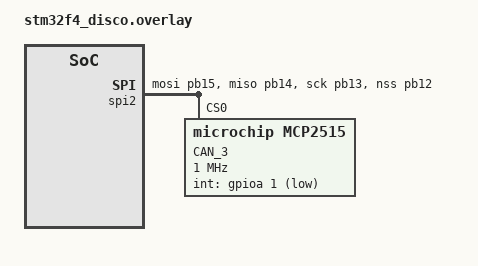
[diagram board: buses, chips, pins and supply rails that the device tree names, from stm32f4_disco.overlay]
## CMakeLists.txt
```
# Find Zephyr. This also loads Zephyr's build system.
cmake_minimum_required(VERSION 3.13.1)
find_package(Zephyr)
project(epos_controller)

# Add your source file to the "app" target. This must come after
# find_package(Zephyr) which defines the target.
#target_sources(app PRIVATE src/test.cpp)
target_sources(app PRIVATE src/main.cpp)
target_sources(app PRIVATE src/epos4/epos4.cpp)
```

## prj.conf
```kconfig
CONFIG_CAN=y
CONFIG_CAN_MCP2515=y
CONFIG_CAN_STM32=n
CONFIG_CAN_INIT_PRIORITY=80
CONFIG_CAN_MAX_FILTER=1

CONFIG_SPI=y
CONFIG_SPI_STM32_INTERRUPT=y


CONFIG_LOG=y
CONFIG_CAN_LOG_LEVEL_DBG=y
# CONFIG_SPI_LOG_LEVEL_DBG=y
CONFIG_DEBUG_OPTIMIZATIONS=y
```

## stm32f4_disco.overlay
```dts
&spi2 {
	status = "okay";
	// cs-gpios = <&arduino_header 16 GPIO_ACTIVE_LOW>; /* D10 */
	pinctrl-0 = <&spi2_mosi_pb15 &spi2_miso_pb14 &spi2_sck_pb13 &spi2_nss_pb12>;
	can3: mcp2515@0 {
		compatible = "microchip,mcp2515";
		spi-max-frequency = <1000000>;
		int-gpios = <&gpioa 1 GPIO_ACTIVE_LOW>; /* D2 */
		status = "okay";
		label = "CAN_3";
		reg = <0x0>;
		osc-freq = <16000000>;
		bus-speed = <125000>;
		sjw = <1>;
		prop-seg = <2>;
		phase-seg1 = <7>;
		phase-seg2 = <6>;
		#address-cells = <1>;
		#size-cells = <0>;
	};
};

&can2 {
	status = "disabled";
};

/ {
	aliases {
		can-dev = &can3;
	};
};
```

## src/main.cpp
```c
#include <zephyr.h>
#include <kernel.h>
#include <sys/printk.h>
#include <device.h>
#include <drivers/can.h>
#include <drivers/gpio.h>
#include <sys/byteorder.h>

#include "epos4/epos4.h"

#define RX_THREAD_STACK_SIZE 512
#define RX_THREAD_PRIORITY 2
#define STATE_POLL_THREAD_STACK_SIZE 512
#define STATE_POLL_THREAD_PRIORITY 2
#define LED_MSG_ID 0x10
#define COUNTER_MSG_ID 0x12345
#define SET_LED 1
#define RESET_LED 0
#define SLEEP_TIME K_MSEC(250)

K_THREAD_STACK_DEFINE(rx_thread_stack, RX_THREAD_STACK_SIZE);

#define CAN_DEVICE_LABEL DT_PROP(DT_ALIAS(can_dev), label)

const struct device* can_dev;
// const struct device *can_dev = DEVICE_DT_GET(DT_CHOSEN(zephyr_can_primary));

epos4 epos4_1(0x581,0x601, can_dev);


struct k_thread rx_thread_data;
struct k_thread poll_state_thread_data;
struct zcan_work rx_work;
struct k_work state_change_work;
enum can_state current_state;
struct can_bus_err_cnt current_err_cnt;

void rx_callback_function(struct zcan_frame *frame, void *arg)
{
	char *dat = (char*)(frame->data);

	if( dat[1] == 0x41 || dat[2] == 0x60 )
	{
		uint16_t statusword = ( dat[5] << 8 ) | ( dat[4] );
    	epos4_1._target_reached = statusword & 0b0000010000000000;
    	epos4_1._state_of_drive = statusword & 0b01101111;
	}

	printk("MSG: ");
	
	for(int i = 0; i < 8; i+=1)
	{
		printk("%x",(unsigned char)(dat[i]));
	}
	
	printk("\n");
}



void main(void)
{
	epos4_1._can_interface = device_get_binding("CAN_3");

	k_tid_t rx_tid;

    if (!device_is_ready(epos4_1._can_interface)) {
		printk("CAN: Device %s not ready.\n", epos4_1._can_interface->name);
		return;
	}else{
        printk("CAN device %s is ready...\n", epos4_1._can_interface->name);
    }
	can_set_mode(epos4_1._can_interface, CAN_NORMAL_MODE);

	const struct zcan_filter my_filter = {
        .id = 0x581,
        .rtr = CAN_DATAFRAME,
        .id_type = CAN_STANDARD_IDENTIFIER,
        .id_mask = CAN_STD_ID_MASK,
        .rtr_mask = 1
	};
	int filter_id;

	filter_id = can_attach_isr(epos4_1._can_interface, rx_callback_function, NULL, &my_filter);
	if (filter_id < 0) {
	  	printk("Unable to attach isr [%d]", filter_id);
	}

	printk("start init...");
    epos4_1.init();
	printk(" done!");
	while(1)
	{
		k_sleep(K_MSEC(1000));
		printk("Test ... \n");
	}
}
```

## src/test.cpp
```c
#include <zephyr.h>
#include <kernel.h>
#include <sys/printk.h>
#include <device.h>
#include <drivers/can.h>
#include <drivers/gpio.h>
#include <sys/byteorder.h>

#define RX_THREAD_STACK_SIZE 512
#define RX_THREAD_PRIORITY 2
#define STATE_POLL_THREAD_STACK_SIZE 512
#define STATE_POLL_THREAD_PRIORITY 2
#define LED_MSG_ID 0x10
#define COUNTER_MSG_ID 0x12345
#define SET_LED 1
#define RESET_LED 0
#define SLEEP_TIME K_MSEC(250)

struct k_thread rx_thread_data;
struct k_thread poll_state_thread_data;
struct zcan_work rx_work;
struct k_work state_change_work;
enum can_state current_state;
struct can_bus_err_cnt current_err_cnt;


// const struct device *can_dev = DEVICE_DT_GET(DT_ALIAS(can_dev));
#define CAN_DEVICE_LABEL DT_PROP(DT_ALIAS(can_dev), label)


void main(void)
{
	k_tid_t rx_tid;

	struct zcan_frame frame = {
        .id = 0x123,
        .rtr = CAN_DATAFRAME,
        .id_type = CAN_STANDARD_IDENTIFIER,
        .dlc = 8,
        .data = {1,2,3,4,5,6,7,8}
	};
	int ret;

	const struct device* can_dev = device_get_binding("CAN_3");

    if (!device_is_ready(can_dev)) {
		printk("CAN: Device %s not ready.\n", can_dev->name);
		return;
	}else{
        printk("CAN device %s is ready...\n", can_dev->name);
    }

	can_set_mode(can_dev, CAN_NORMAL_MODE);

	while(1)
	{
		k_sleep(K_MSEC(1000));
		

		ret = can_send(can_dev, &frame, K_FOREVER, NULL, NULL);
		if (ret != CAN_TX_OK) {
		        printk("Sending failed [%d]\n", ret);
		}
	}
}
```
